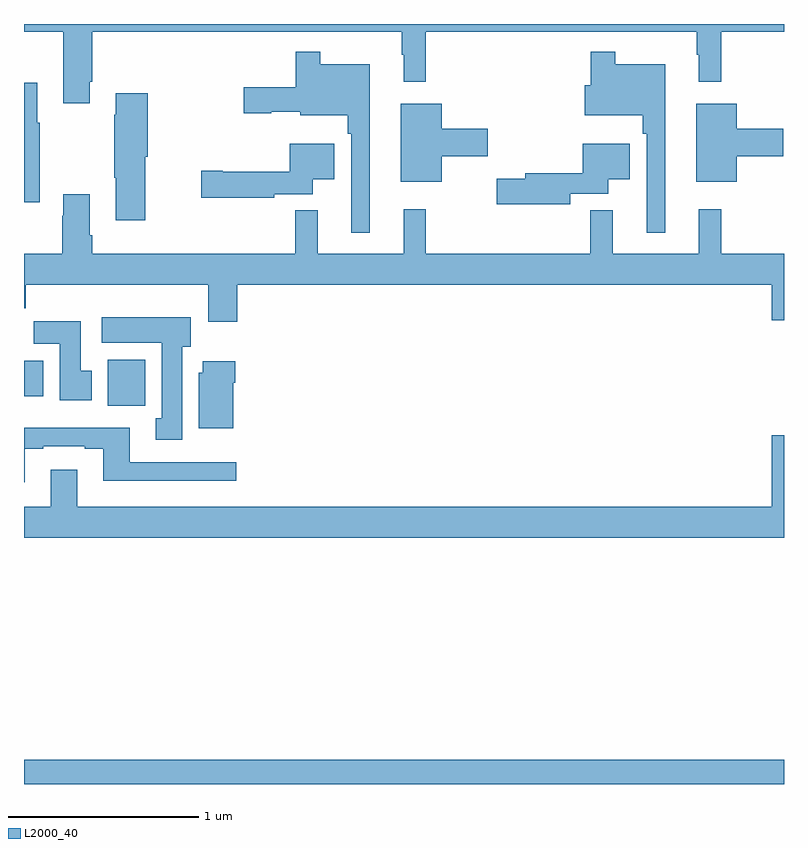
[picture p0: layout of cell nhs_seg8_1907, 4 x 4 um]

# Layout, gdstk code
import gdstk
lib = gdstk.Library(unit=1e-6, precision=1e-09)
def R(c, l, rs):  # rectangles x0, y0, x1, y1
    for r in rs: c.add(gdstk.rectangle(r[:2], r[2:], *l))
def P(c, l, *ps):  # polygons
    for p in ps: c.add(gdstk.Polygon(p, *l))
L2000_40 = (2000, 40)

nhs_seg8_1907 = lib.new_cell('nhs_seg8_1907')
R(nhs_seg8_1907, L2000_40, [(233,1085.9,237,1086.028), (233.441,1087.892,233.638,1088.134), (233,1087.94,233.101,1088.128)])
P(nhs_seg8_1907, L2000_40, [(233.347,1089.595),(233.36,1089.595),(233.36,1089.86),(234.987,1089.86),(234.987,1089.737),(234.998,1089.737),(234.998,1089.597),(235.115,1089.597),(235.115,1089.86),(236.541,1089.86),(236.541,1089.737),(236.552,1089.737),(236.552,1089.597),(236.669,1089.597),(236.669,1089.86),(237,1089.86),(237,1089.9),(233,1089.9),(233,1089.86),(233.207,1089.86),(233.207,1089.483),(233.347,1089.483)],
  [(236.374,1089.688),(236.113,1089.688),(236.113,1089.754),(235.984,1089.754),(235.984,1089.577),(235.95,1089.577),(235.95,1089.419),(236.257,1089.419),(236.257,1089.323),(236.277,1089.323),(236.277,1088.802),(236.374,1088.802)],
  [(234.82,1089.688),(234.559,1089.688),(234.559,1089.754),(234.43,1089.754),(234.43,1089.567),(234.156,1089.567),(234.156,1089.43),(234.302,1089.43),(234.302,1089.437),(234.453,1089.437),(234.453,1089.419),(234.703,1089.419),(234.703,1089.323),(234.723,1089.323),(234.723,1088.802),(234.82,1088.802)],
  [(233.083,1089.379),(233.071,1089.379),(233.071,1089.592),(233,1089.592),(233,1088.963),(233.083,1088.963)],
  [(233.638,1089.201),(233.651,1089.201),(233.651,1089.535),(233.483,1089.535),(233.483,1089.422),(233.476,1089.422),(233.476,1089.091),(233.483,1089.091),(233.483,1088.868),(233.638,1088.868)],
  [(236.752,1089.203),(236.995,1089.203),(236.995,1089.35),(236.752,1089.35),(236.752,1089.481),(236.537,1089.481),(236.537,1089.071),(236.752,1089.071)],
  [(235.198,1089.203),(235.441,1089.203),(235.441,1089.35),(235.198,1089.35),(235.198,1089.481),(234.983,1089.481),(234.983,1089.071),(235.198,1089.071)],
  [(234.318,1089.005),(234.52,1089.005),(234.52,1089.083),(234.634,1089.083),(234.634,1089.271),(234.398,1089.271),(234.398,1089.123),(234.046,1089.123),(234.046,1089.128),(233.934,1089.128),(233.934,1088.986),(234.318,1088.986)],
  [(235.876,1089.006),(236.074,1089.006),(236.074,1089.083),(236.188,1089.083),(236.188,1089.271),(235.94,1089.271),(235.94,1089.115),(235.637,1089.115),(235.637,1089.086),(235.488,1089.086),(235.488,1088.951),(235.876,1088.951)],
  [(234.122,1088.528),(236.936,1088.528),(236.936,1088.34),(237,1088.34),(237,1088.692),(236.669,1088.692),(236.669,1088.926),(236.552,1088.926),(236.552,1088.692),(236.099,1088.692),(236.099,1088.921),(235.981,1088.921),(235.981,1088.692),(235.115,1088.692),(235.115,1088.926),(234.998,1088.926),(234.998,1088.692),(234.545,1088.692),(234.545,1088.92),(234.427,1088.92),(234.427,1088.692),(233.36,1088.692),(233.36,1088.788),(233.347,1088.788),(233.347,1089.004),(233.207,1089.004),(233.207,1088.891),(233.2,1088.891),(233.2,1088.692),(233,1088.692),(233,1088.404),(233.009,1088.404),(233.009,1088.528),(233.969,1088.528),(233.969,1088.334),(234.122,1088.334)],
  [(233.833,1088.202),(233.878,1088.202),(233.878,1088.356),(233.409,1088.356),(233.409,1088.222),(233.726,1088.222),(233.726,1087.826),(233.693,1087.826),(233.693,1087.713),(233.833,1087.713)],
  [(233.356,1088.076),(233.299,1088.076),(233.299,1088.335),(233.05,1088.335),(233.05,1088.216),(233.189,1088.216),(233.189,1087.92),(233.356,1087.92)],
  [(234.1,1088.012),(234.113,1088.012),(234.113,1088.125),(233.942,1088.125),(233.942,1088.064),(233.921,1088.064),(233.921,1087.772),(234.1,1087.772)],
  [(233.005,1087.665),(233.101,1087.665),(233.101,1087.677),(233.321,1087.677),(233.321,1087.665),(233.417,1087.665),(233.417,1087.496),(234.118,1087.496),(234.118,1087.593),(233.557,1087.593),(233.557,1087.774),(233,1087.774),(233,1087.488),(233.005,1087.488)],
  [(237,1087.735),(236.936,1087.735),(236.936,1087.36),(233.281,1087.36),(233.281,1087.555),(233.141,1087.555),(233.141,1087.36),(233,1087.36),(233,1087.196),(237,1087.196)])

lib.write_gds('nhs_seg8_1907.gds')
